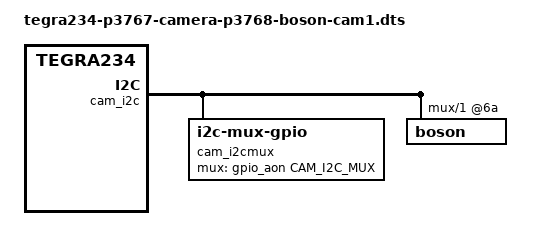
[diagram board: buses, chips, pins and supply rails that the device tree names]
// SPDX-License-Identifier: GPL-2.0-only
// SPDX-FileCopyrightText: Copyright (c) 2026, ARK Electronics.

/*
 * FLIR Boson+ through the ARK Boson Adapter on JAJ CAM1 (J25), 2-lane:
 * CSI2_CLK with CSI2_D0/D1. I2C mux channel 1, EXT_SYNC on CAM1_MCLK (PP.01).
 */

/dts-v1/;
/plugin/;

#define CAM_I2C_MUX	TEGRA234_AON_GPIO(CC, 3)

#define BOSON_PORT_INDEX	2
#define BOSON_SINTERFACE	"serial_c"
#define BOSON_LANE_POLARITY	"0"
/* Continuous: the clock mode this port was bench-tested with. */
#define BOSON_DISCONTINUOUS_CLK	"no"
#define BOSON_SENSOR_SYSFS	"/sys/firmware/devicetree/base/bus@0/cam_i2cmux/i2c@1/boson@6a"
#define BOSON_SYNC_PAD		"extperiph2_clk_pp1"

#include <dt-bindings/tegra234-p3767-0000-common.h>
#include "tegra234-camera-boson.dtsi"

/ {
	overlay-name = "Camera FLIR Boson+ CAM1";
	jetson-header-name = "Jetson 22pin CSI Connector";
	compatible = JETSON_COMPATIBLE_P3768;

	fragment-boson-i2c@0 {
		target-path = "/";
		__overlay__ {
			bus@0 {
				cam_i2cmux {
					status = "okay";
					compatible = "i2c-mux-gpio";
					#address-cells = <1>;
					#size-cells = <0>;
					i2c-parent = <&cam_i2c>;
					mux-gpios = <&gpio_aon CAM_I2C_MUX GPIO_ACTIVE_HIGH>;
					i2c@0 {
						status = "okay";
						reg = <0>;
						#address-cells = <1>;
						#size-cells = <0>;
						/* the flash-time IMX219 default */
						rbpcv2_imx219_a@10 {
							status = "disabled";
						};
					};
					i2c@1 {
						status = "okay";
						reg = <1>;
						#address-cells = <1>;
						#size-cells = <0>;
						rbpcv2_imx219_c@10 {
							status = "disabled";
						};
						boson@6a {
							status = "okay";
#include "tegra234-camera-boson-sensor.dtsi"
						};
					};
				};
			};
		};
	};
};
